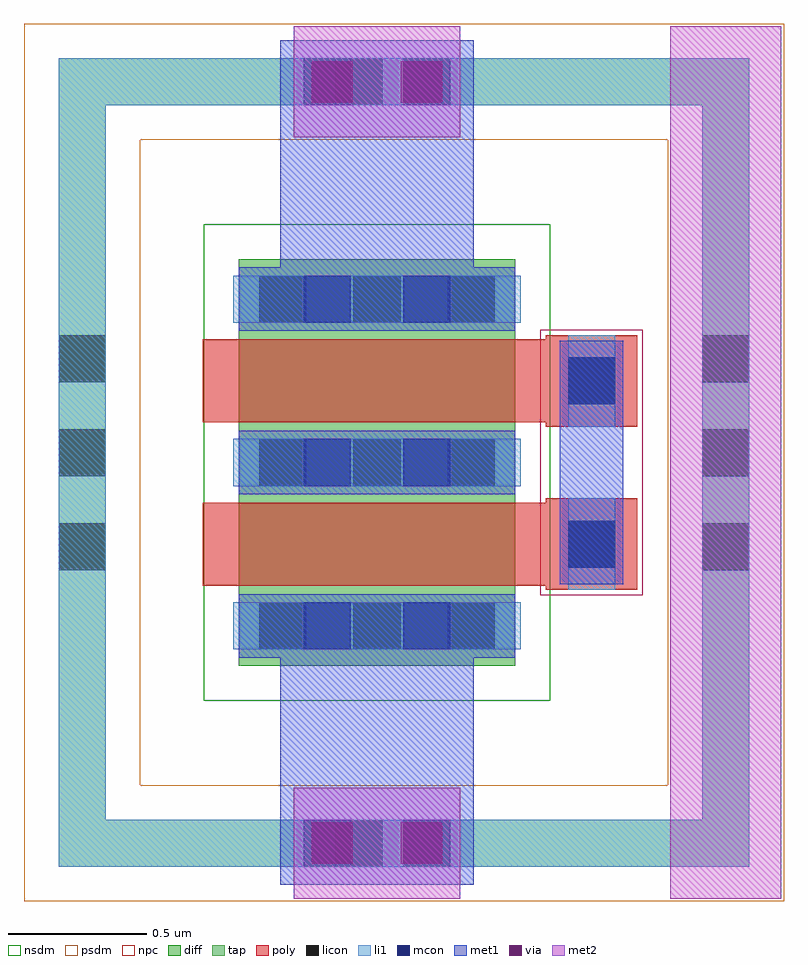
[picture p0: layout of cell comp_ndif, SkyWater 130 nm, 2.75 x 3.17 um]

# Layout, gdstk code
import gdstk
lib = gdstk.Library(unit=1e-6, precision=1e-09)
def R(c, l, rs):  # rectangles x0, y0, x1, y1
    for r in rs: c.add(gdstk.rectangle(r[:2], r[2:], *l))
def A(c, l, x, y, w, h, nx, ny, dx, dy):  # array of equal rectangles
    R(c, l, [(x+i*dx, y+j*dy, x+i*dx+w, y+j*dy+h) for i in range(nx) for j in range(ny)])
diff = (65, 20)
tap = (65, 44)
poly = (66, 20)
licon = (66, 44)
li1 = (67, 20)
mcon = (67, 44)
met1 = (68, 20)
via = (68, 44)
met2 = (69, 20)
nsdm = (93, 44)
psdm = (94, 20)
npc = (95, 20)

comp_ndif = lib.new_cell('comp_ndif')
R(comp_ndif, diff, [(795.345,1771.395,796.345,1772.275), (795.345,1771.985,796.345,1772.865)])
R(comp_ndif, poly, [(796.455,1771.67,796.785,1772), (795.215,1771.685,796.455,1771.985), (796.455,1772.26,796.785,1772.59), (795.215,1772.275,796.455,1772.575)])
A(comp_ndif, licon, 795.42, 1771.455, 0.17, 0.17, 3, 2, 0.34, 1.18)
A(comp_ndif, licon, 794.695, 1771.74, 0.17, 0.17, 1, 3, 0, 0.34)
A(comp_ndif, licon, 797.02, 1771.74, 0.17, 0.17, 1, 3, 0, 0.34)
R(comp_ndif, licon, [(795.695,1770.67,795.865,1770.84), (796.535,1771.75,796.705,1771.92), (795.42,1772.045,795.59,1772.215), (795.42,1772.045,795.59,1772.215), (795.76,1772.045,795.93,1772.215), (795.76,1772.045,795.93,1772.215), (796.1,1772.045,796.27,1772.215), (796.1,1772.045,796.27,1772.215), (796.535,1772.34,796.705,1772.51), (795.695,1773.42,795.865,1773.59)])
R(comp_ndif, li1, [(795.58,1770.67,796.11,1770.84), (795.325,1771.455,796.365,1771.625), (796.535,1771.67,796.705,1772), (795.325,1772.045,796.365,1772.215), (795.325,1772.045,796.365,1772.215), (796.535,1772.26,796.705,1772.59), (795.325,1772.635,796.365,1772.805), (795.58,1773.42,796.11,1773.59)])
R(comp_ndif, mcon, [(795.58,1770.67,795.75,1770.84), (795.94,1770.67,796.11,1770.84), (795.58,1771.455,795.75,1771.625), (795.94,1771.455,796.11,1771.625), (796.535,1771.75,796.705,1771.92), (795.58,1772.045,795.75,1772.215), (795.58,1772.045,795.75,1772.215), (795.94,1772.045,796.11,1772.215), (795.94,1772.045,796.11,1772.215), (796.535,1772.34,796.705,1772.51), (795.58,1772.635,795.75,1772.805), (795.94,1772.635,796.11,1772.805), (795.58,1773.42,795.75,1773.59), (795.94,1773.42,796.11,1773.59)])
R(comp_ndif, met1, [(795.495,1770.605,796.195,1770.905), (795.495,1770.64,796.195,1771.425), (795.55,1770.64,796.14,1770.87), (795.345,1771.425,796.345,1771.655), (796.505,1771.69,796.735,1771.98), (795.345,1772.015,796.345,1772.245), (795.345,1772.015,796.345,1772.245), (796.505,1772.28,796.735,1772.57), (795.345,1772.605,796.345,1772.835), (795.495,1772.835,796.195,1773.62), (795.495,1773.355,796.195,1773.655), (795.55,1773.39,796.14,1773.62)])
R(comp_ndif, via, [(795.61,1770.68,795.76,1770.83), (795.93,1770.68,796.08,1770.83), (795.61,1773.43,795.76,1773.58), (795.93,1773.43,796.08,1773.58)])
R(comp_ndif, met2, [(795.545,1770.555,796.145,1770.955), (795.545,1773.305,796.145,1773.705)])
R(comp_ndif, nsdm, [(795.22,1771.27,796.47,1772.4), (795.22,1771.86,796.47,1772.99)])
R(comp_ndif, npc, [(796.435,1771.65,796.805,1772.61), (796.435,1771.65,796.805,1772.02), (796.435,1772.24,796.805,1772.61)])
comp_ndif.add(gdstk.FlexPath([(796.62,1771.805),(796.62,1772.455)], 0.23, ends="extended", simple_path=True, layer=68, datatype=20))  # met1
comp_ndif.add(gdstk.FlexPath([(797.105,1770.755),(797.105,1773.505)], 0.4, ends="extended", simple_path=True, layer=69, datatype=20))  # met2
comp_ndif.add(gdstk.FlexPath([(794.78,1770.67),(794.78,1773.505),(797.105,1773.505),(797.105,1770.755),(794.78,1770.755)], 0.17, ends="flush", simple_path=True, layer=67, datatype=20))  # li1
comp_ndif.add(gdstk.FlexPath([(794.78,1770.545),(794.78,1773.505),(797.105,1773.505),(797.105,1770.755),(794.78,1770.755)], 0.42, ends="flush", simple_path=True, layer=94, datatype=20))  # psdm
comp_ndif.add(gdstk.FlexPath([(794.78,1770.67),(794.78,1773.505),(797.105,1773.505),(797.105,1770.755),(794.78,1770.755)], 0.17, ends="flush", simple_path=True, layer=65, datatype=44))  # tap

lib.write_gds('comp_ndif.gds')
